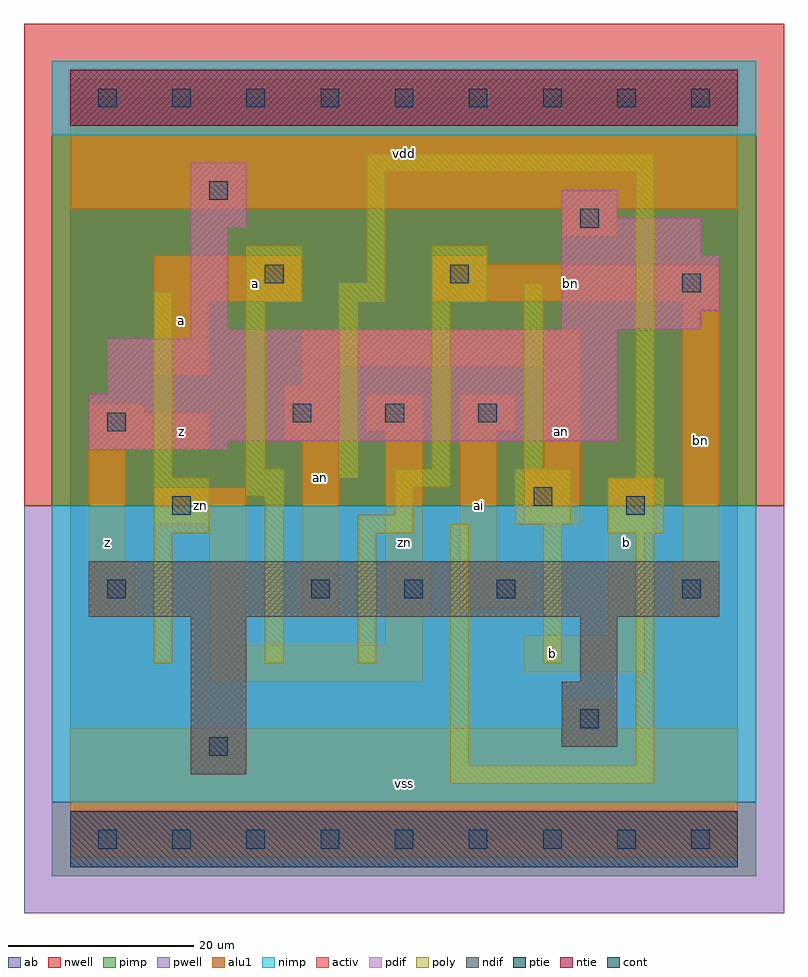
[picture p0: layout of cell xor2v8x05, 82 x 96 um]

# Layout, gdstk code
import gdstk
lib = gdstk.Library(unit=1e-6, precision=1e-09)
def R(c, l, rs):  # rectangles x0, y0, x1, y1
    for r in rs: c.add(gdstk.rectangle(r[:2], r[2:], *l))
def A(c, l, x, y, w, h, nx, ny, dx, dy):  # array of equal rectangles
    R(c, l, [(x+i*dx, y+j*dy, x+i*dx+w, y+j*dy+h) for i in range(nx) for j in range(ny)])
ndif = (3, 0)
pdif = (4, 0)
ntie = (5, 0)
ptie = (6, 0)
cont = (25, 0)
pwell = (41, 0)
nwell = (42, 0)
activ = (43, 0)
pimp = (44, 0)
nimp = (45, 0)
poly = (46, 0)
alu1 = (49, 0)
ab = (63, 0)

xor2v8x05 = lib.new_cell('xor2v8x05')
R(xor2v8x05, ndif, [(13,7,19,24), (53,10,59,17), (55,17,59,24), (2,24,70,30)])
R(xor2v8x05, pdif, [(2,42,17,43), (2,43,59,48), (4,48,59,54), (13,54,59,55), (13,55,17,66), (53,55,68,57), (53,57,70,63), (53,63,68,67), (13,66,19,73), (53,67,59,70)])
R(xor2v8x05, ntie, [(0,77,72,83)])
R(xor2v8x05, ptie, [(0,-3,72,3)])
A(xor2v8x05, cont, 3, -1, 2, 2, 9, 2, 8, 80)
A(xor2v8x05, cont, 26, 26, 2, 2, 3, 1, 10, 0)
A(xor2v8x05, cont, 24, 45, 2, 2, 3, 1, 10, 0)
R(xor2v8x05, cont, [(15,9,17,11), (55,12,57,14), (4,26,6,28), (66,26,68,28), (11,35,13,37), (60,35,62,37), (50,36,52,38), (4,44,6,46), (66,59,68,61), (21,60,23,62), (41,60,43,62), (55,66,57,68), (15,69,17,71)])
R(xor2v8x05, pwell, [(-5,-8,77,36)])
R(xor2v8x05, nwell, [(-5,36,77,88)])
R(xor2v8x05, activ, [(0,-3,72,3), (13,7,19,24), (53,10,59,17), (55,17,59,24), (2,24,70,30), (2,42,17,43), (2,43,59,48), (4,48,59,54), (13,54,59,55), (13,55,17,66), (53,55,68,57), (53,57,70,63), (53,63,68,67), (13,66,19,73), (53,67,59,70), (0,77,72,83)])
R(xor2v8x05, pimp, [(-2,-4,74,4), (-2,36,74,76)])
R(xor2v8x05, nimp, [(-2,4,74,36), (-2,76,74,84)])
R(xor2v8x05, poly, [(41,6,63,8), (41,8,43,34), (61,8,63,33), (9,19,11,33), (21,19,23,37), (31,19,33,33), (51,19,53,34), (9,33,15,39), (31,33,37,35), (58,33,64,39), (48,34,54,40), (35,35,37,38), (19,37,23,40), (35,38,41,40), (9,39,11,59), (29,39,31,58), (61,39,63,72), (19,40,21,58), (39,40,41,58), (49,40,51,60), (19,58,25,64), (29,58,34,60), (39,58,45,64), (32,60,34,72), (32,72,63,74)])
R(xor2v8x05, alu1, [(0,-2,72,12), (53,12,59,15), (15,17,38,21), (49,18,62,22), (15,21,19,34), (34,21,38,24), (58,22,62,33), (2,24,7,30), (25,24,29,43), (34,24,39,30), (65,24,70,30), (42,25,50,29), (42,29,46,44), (2,30,6,42), (34,30,38,44), (66,30,70,58), (58,33,63,39), (9,34,19,38), (49,34,55,40), (51,40,55,51), (2,42,15,46), (23,43,29,49), (32,44,38,48), (42,44,48,48), (2,46,8,47), (25,49,29,51), (9,50,15,58), (25,51,55,55), (9,58,25,63), (39,58,70,62), (39,62,45,63), (53,65,59,68), (0,68,72,82)])
R(xor2v8x05, ab, [(0,0,72,80)])
xor2v8x05.add(gdstk.Label('zn', (14,36), layer=49, texttype=0))
xor2v8x05.add(gdstk.Label('an', (27,39), layer=49, texttype=0))
xor2v8x05.add(gdstk.Label('ai', (44,36), layer=49, texttype=0))
xor2v8x05.add(gdstk.Label('zn', (36,32), layer=49, texttype=0))
xor2v8x05.add(gdstk.Label('an', (53,44), layer=49, texttype=0))
xor2v8x05.add(gdstk.Label('bn', (54,60), layer=49, texttype=0))
xor2v8x05.add(gdstk.Label('bn', (68,43), layer=49, texttype=0))
xor2v8x05.add(gdstk.Label('z', (4,32), layer=49, texttype=0))
xor2v8x05.add(gdstk.Label('z', (12,44), layer=49, texttype=0))
xor2v8x05.add(gdstk.Label('a', (12,56), layer=49, texttype=0))
xor2v8x05.add(gdstk.Label('a', (20,60), layer=49, texttype=0))
xor2v8x05.add(gdstk.Label('vss', (36,6), layer=49, texttype=0))
xor2v8x05.add(gdstk.Label('b', (52,20), layer=49, texttype=0))
xor2v8x05.add(gdstk.Label('vdd', (36,74), layer=49, texttype=0))
xor2v8x05.add(gdstk.Label('b', (60,32), layer=49, texttype=0))

lib.write_gds('xor2v8x05.gds')
